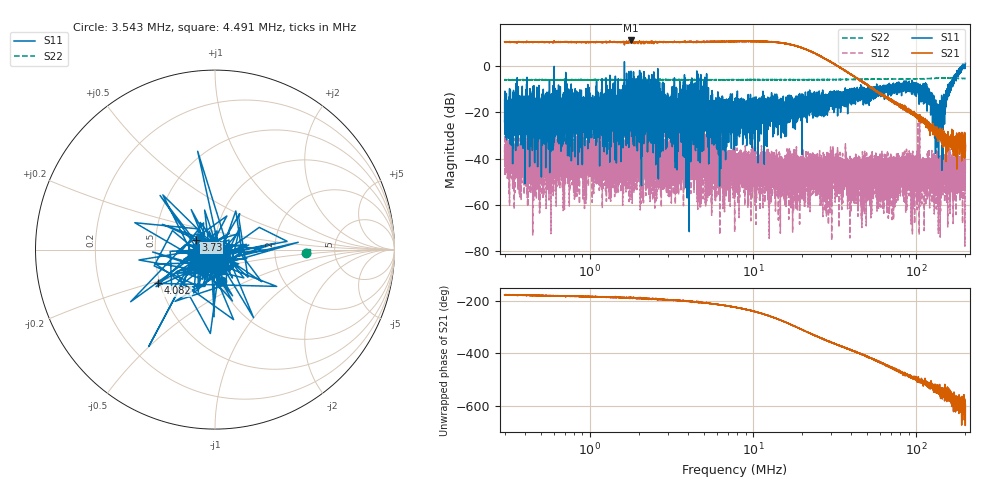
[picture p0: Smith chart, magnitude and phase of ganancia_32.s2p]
# Hz S DB R 50
! CMT, M5065, 19127446, 24.2.4/2
! Date: 11/1/2024 4:33:45 PM
! Data: Format (Calibration Info)
! Freq	S11:dB/Ang(F2)	S21:dB/Ang(F2)	S12:dB/Ang(F2)	S22:dB/Ang(F2)
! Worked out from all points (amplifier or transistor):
!   9000 points, 300 kHz to 200 MHz, reference 50 ohm
!   highest |S21| = 11.2 dB at 1.783 MHz (marker M1)
!   |S21| within 3 dB of that: start of sweep to 19.45 MHz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
!   unconditionally stable (mu >= 1): 603.9 kHz to 1.626 MHz; 1.628 MHz to 2.483 MHz; 2.483 MHz to 191 MHz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
!   at 886.8 kHz: K = 12.53, MAG = 11.7 dB, |S12| = -41.0 dB
!   at 7.749 MHz: K = 8.91, MAG = 12.2 dB, |S12| = -38.5 dB
!   at 200 MHz: K = -1026.89, MSG = 6.1 dB, |S12| = -46.2 dB
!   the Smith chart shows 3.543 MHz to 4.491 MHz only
!   S11 on the Smith chart (normalised r, x): 3.543 MHz: 1.01, -0.37; 3.73 MHz: 0.80, +0.09; 4.082 MHz: 0.49, -0.21; 4.491 MHz: 1.05, -0.26
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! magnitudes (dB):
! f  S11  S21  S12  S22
! 300 kHz  -24.2  10.5  -34.9  -5.9
! 312.2 kHz  -26.4  10.5  -35.7  -5.9
! 460.5 kHz  -21.9  10.5  -49.0  -5.9
! 886.8 kHz  -23.2  10.4  -41.0  -5.9
! 1.326 MHz  -3.9  11.0  -42.3  -5.8
! 1.783 MHz  -2.1  11.2  -42.3  -5.9
! 2.621 MHz  -30.4  10.4  -39.1  -5.9
! 3.543 MHz  -14.9  10.5  -45.8  -5.9
! 3.73 MHz  -18.3  10.5  -42.2  -5.9
! 4.082 MHz  -8.7  10.8  -42.0  -5.9
! 4.491 MHz  -18.0  10.6  -36.9  -5.8
! 6.123 MHz  -18.5  10.7  -40.7  -5.9
! 7.749 MHz  -20.3  10.8  -38.5  -5.8
! 22.91 MHz  -15.2  6.3  -45.5  -5.8
! 27.24 MHz  -13.8  3.5  -38.3  -5.8
! 30.16 MHz  -12.3  1.7  -41.5  -5.8
! 67.71 MHz  -9.2  -13.5  -50.4  -5.6
! 112.6 MHz  -9.8  -23.7  -53.4  -5.4
! 124 MHz  -18.7  -27.3  -44.2  -5.3
! 136 MHz  -25.2  -32.4  -41.6  -5.2
! 160.4 MHz  -11.5  -32.8  -45.9  -5.2
! 200 MHz  1.1  -34.1  -46.2  -5.3
